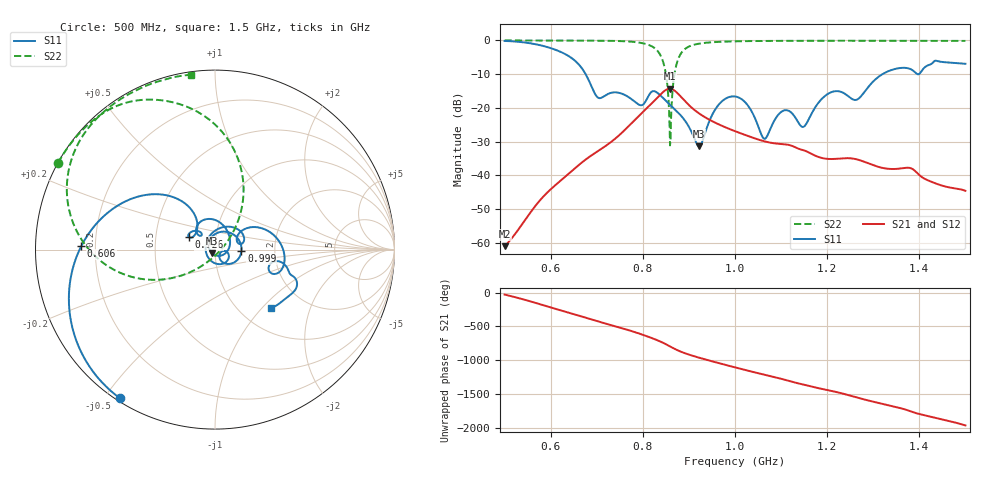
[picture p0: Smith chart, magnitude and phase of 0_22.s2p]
! TOUCHSTONE file generated by CST MICROWAVE STUDIO
! Date and time: Mon Sep 28 14:09:39 2020
! Project name: Scenario_1_Free_SPace.cst
! Parameters = {dx1=537; L_HA=400; MT=2.54; Rad_Dielectric=30; Rad_Lower=7.3; Rad_Upper=30; a_HA=580; a_WG=246; b_HA=500; b_WG=121; c_HA=0; c_WG=187; d_feed=85; h_feed=15; h_lower=18; h_upper=40}
! Header version: 2018
! Port assignment regex: !\s*Touchstone port\s*([0-9]+)\s*=\s*(CST MWS port|CST DS port)\s*([0-9]+|Zmin|Zmax)\s*\(\"(.*)\"\)(\s*mode\s*([0-9]+))?.*
! Touchstone port assignment:
! Touchstone port 1 = CST MWS port 1 ("")
! Touchstone port 2 = CST MWS port 2 ("")
# GHz S DB R 50
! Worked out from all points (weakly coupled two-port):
!   1003 points, 500 MHz to 1.5 GHz, reference 50 ohm
!   highest |S21| = -14.32 dB at 858 MHz (marker M1); lowest = -61.1 dB at 500 MHz (marker M2)
!   lowest |S11| = -31.5 dB at 922 MHz (marker M3), VSWR 1.05, Z = 48.1 - j1.83 ohm
!   |S11| at or under -10 dB: 675.8 MHz to 1.32 GHz (644.4 MHz wide, 64.6 % of centre); 1.395713 GHz to 1.399023 GHz (3.31 MHz wide, 0.237 % of centre)
!   |S22| runs from -31.1 to 0.0 dB; largest |S21 - S12| = 1.4e-05
!   S11 on the Smith chart (normalised r, x): 500 MHz: 0.01, -0.55; 606 MHz: 0.15, +0.01; 726 MHz: 0.74, +0.11; 999 MHz: 1.35, -0.02; 1.5 GHz: 1.38, -1.12
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0.5  -0.15 -122.7  -61.06 -27.3  -61.06 -27.3  -0.01 151.1
0.606  -2.55 178.5  -43.45 129.4  -43.45 129.4  -0.02 143.6
0.667  -8.13 130.3  -36.29 8.1  -36.29 8.1  -0.04 138.3
0.701  -16.78 134.8  -32.97 -61.6  -32.97 -61.6  -0.07 134.7
0.726  -15.77 154.6  -30.65 -110.0  -30.65 -110.0  -0.11 131.4
0.791  -19.02 130.8  -22.45 117.4  -22.45 117.4  -0.62 116.4
0.834  -15.81 86.8  -16.63 8.6  -16.63 8.6  -3.46 87.8
0.848  -17.63 62.4  -14.86 -35.9  -14.86 -35.9  -8.49 65.0
0.858  -18.95 46.6  -14.32 -72.1  -14.32 -72.1  -25.27 22.2
0.879  -21.74 10.9  -16.19 -143.8  -16.19 -143.8  -4.79 -168.9
0.922  -31.47 -134.6  -21.65 117.4  -21.65 117.4  -0.95 157.1
0.961  -19.69 72.2  -24.67 44.0  -24.67 44.0  -0.45 146.5
0.999  -16.61 -2.5  -26.87 -24.4  -26.87 -24.4  -0.27 140.3
1  -16.63 -4.3  -26.93 -26.1  -26.93 -26.1  -0.27 140.2
1.064  -29.18 -34.4  -29.95 -135.4  -29.95 -135.4  -0.15 133.0
1.103  -20.97 -31.6  -30.75 159.9  -30.75 159.9  -0.12 129.4
1.147  -25.68 -170.2  -32.52 80.7  -32.51 80.7  -0.10 125.8
1.167  -21.53 109.0  -33.74 46.4  -33.74 46.4  -0.09 124.2
1.212  -15.22 37.8  -35.19 -18.7  -35.19 -18.7  -0.09 120.7
1.266  -17.47 25.5  -35.35 -114.9  -35.35 -114.9  -0.09 116.6
1.334  -9.06 9.7  -38.11 132.2  -38.11 132.2  -0.09 111.4
1.5  -6.93 -46.2  -44.62 -166.5  -44.63 -166.5  -0.15 97.8
